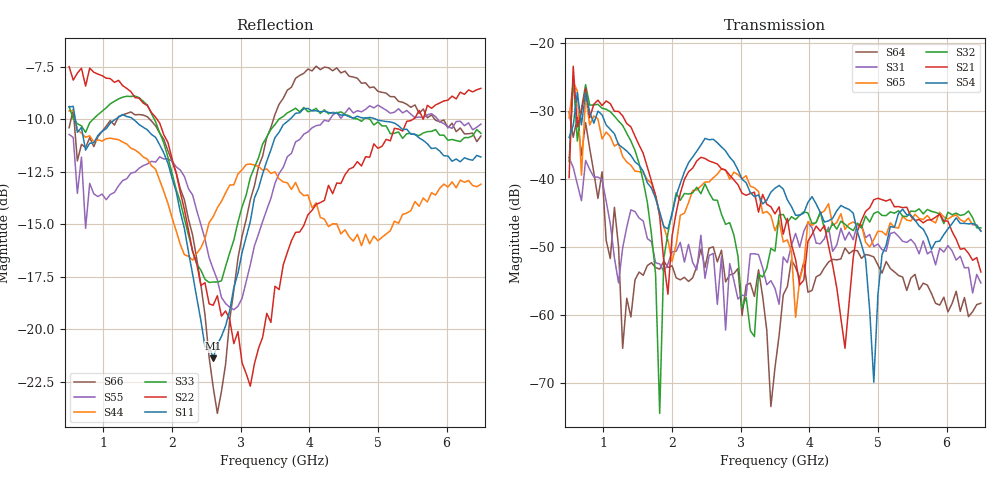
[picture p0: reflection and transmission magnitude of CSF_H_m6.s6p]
!Keysight Technologies,M9804A,MY58100912,A.14.10.03
!Date: Thursday, April 27, 2023 10:28:33
!Correction: S11(C  6-Port  )
!S12(C  6-Port  )
!S13(C  6-Port  )
!S14(C  6-Port  )
!S15(C  6-Port  )
!S16(C  6-Port  )
!S21(C  6-Port  )
!S22(C  6-Port  )
!S23(C  6-Port  )
!S24(C  6-Port  )
!S25(C  6-Port  )
!S26(C  6-Port  )
!S31(C  6-Port  )
!S32(C  6-Port  )
!S33(C  6-Port  )
!S34(C  6-Port  )
!S35(C  6-Port  )
!S36(C  6-Port  )
!S41(C  6-Port  )
!S42(C  6-Port  )
!S43(C  6-Port  )
!S44(C  6-Port  )
!S45(C  6-Port  )
!S46(C  6-Port  )
!S51(C  6-Port  )
!S52(C  6-Port  )
!S53(C  6-Port  )
!S54(C  6-Port  )
!S55(C  6-Port  )
!S56(C  6-Port  )
!S61(C  6-Port  )
!S62(C  6-Port  )
!S63(C  6-Port  )
!S64(C  6-Port  )
!S65(C  6-Port  )
!S66(C  6-Port  )
!S6P File: Measurement: :
# Hz S  RI  R 50
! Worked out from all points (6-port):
!   101 points, 500 MHz to 6.5 GHz, reference 50 ohm
!   strongest paths, dB at 500 MHz, 2 GHz, 3.5 GHz, 5 GHz, 6.5 GHz:
!     S54: -33.9, -45.2, -41.4, -57.0, -47.7
!     S21: -39.8, -48.4, -45.1, -42.8, -53.7
!     S32: -37.4, -45.0, -50.6, -44.8, -47.2
!     S65: -31.0, -52.1, -47.6, -47.7, -47.6
!     S31: -36.9, -50.7, -56.1, -49.6, -55.3
!     S64: -30.2, -52.8, -67.7, -52.7, -58.3
!   lowest |S11| = -21.4 dB at 2.6 GHz (marker M1), VSWR 1.19, Z = 42.4 + j2.17 ohm
!   |S11| at or under -10 dB: 590.2 MHz to 1.172 GHz (581.6 MHz wide, 66 % of centre); 1.438 GHz to 3.713 GHz (2.276 GHz wide, 88.4 % of centre); 4.977 GHz to end of sweep
